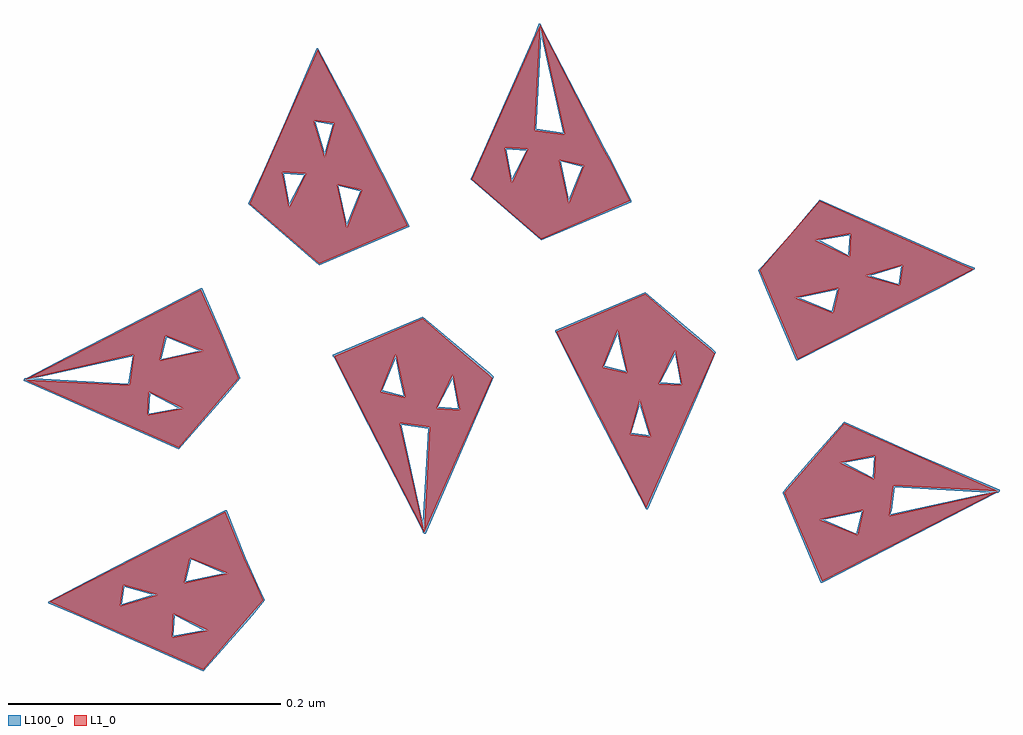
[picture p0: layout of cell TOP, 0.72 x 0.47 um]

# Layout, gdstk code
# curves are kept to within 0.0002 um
import gdstk
lib = gdstk.Library(unit=1e-6, precision=1e-09)
def P(c, l, *ps):  # polygons
    for p in ps: c.add(gdstk.Polygon(p, *l))
L1_0 = (1, 0)
L100_0 = (100, 0)

top = lib.new_cell('TOP')
P(top, L1_0, [(-0.933,1.139),(-1.046,1.189),(-0.969,1.185),(-0.966,1.207),(-1.046,1.189),(-0.917,1.255),(-0.902,1.221),(-0.943,1.221),(-0.947,1.203),(-0.915,1.21),(-0.943,1.221),(-0.902,1.221),(-0.889,1.19),(-0.898,1.18),(-0.955,1.18),(-0.956,1.163),(-0.93,1.168),(-0.955,1.18),(-0.898,1.18)],
  [(-0.915,0.976),(-1.028,1.026),(-0.899,1.092),(-0.885,1.058),(-0.925,1.058),(-0.929,1.04),(-0.897,1.047),(-0.925,1.058),(-0.885,1.058),(-0.876,1.038),(-0.974,1.038),(-0.976,1.023),(-0.949,1.031),(-0.974,1.038),(-0.876,1.038),(-0.871,1.027),(-0.88,1.017),(-0.937,1.017),(-0.938,1),(-0.912,1.005),(-0.937,1.017),(-0.88,1.017)],
  [(-0.667,1.292),(-0.718,1.336),(-0.668,1.449),(-0.672,1.372),(-0.65,1.369),(-0.668,1.449),(-0.622,1.359),(-0.694,1.359),(-0.689,1.333),(-0.677,1.358),(-0.694,1.359),(-0.622,1.359),(-0.617,1.35),(-0.654,1.35),(-0.647,1.318),(-0.636,1.346),(-0.654,1.35),(-0.617,1.35),(-0.602,1.32)],
  [(-0.753,1.077),(-0.819,1.206),(-0.754,1.234),(-0.724,1.208),(-0.774,1.208),(-0.785,1.18),(-0.767,1.176),(-0.774,1.208),(-0.724,1.208),(-0.706,1.193),(-0.732,1.193),(-0.744,1.168),(-0.727,1.167),(-0.732,1.193),(-0.706,1.193),(-0.703,1.19),(-0.753,1.077),(-0.749,1.154),(-0.771,1.157)],
  [(-0.461,1.041),(-0.489,1.106),(-0.445,1.157),(-0.391,1.133),(-0.422,1.133),(-0.448,1.128),(-0.423,1.116),(-0.422,1.133),(-0.391,1.133),(-0.332,1.107),(-0.409,1.111),(-0.411,1.093),(-0.431,1.093),(-0.463,1.086),(-0.435,1.075),(-0.431,1.093),(-0.411,1.093),(-0.412,1.089),(-0.332,1.107)],
  [(-0.479,1.204),(-0.507,1.269),(-0.463,1.32),(-0.409,1.296),(-0.44,1.296),(-0.466,1.291),(-0.441,1.279),(-0.44,1.296),(-0.409,1.296),(-0.357,1.273),(-0.402,1.273),(-0.429,1.265),(-0.404,1.258),(-0.402,1.273),(-0.357,1.273),(-0.35,1.27),(-0.377,1.256),(-0.449,1.256),(-0.481,1.249),(-0.453,1.238),(-0.449,1.256),(-0.377,1.256)],
  [(-0.59,1.095),(-0.656,1.224),(-0.591,1.252),(-0.561,1.226),(-0.611,1.226),(-0.622,1.198),(-0.604,1.194),(-0.611,1.226),(-0.561,1.226),(-0.543,1.211),(-0.569,1.211),(-0.581,1.186),(-0.564,1.185),(-0.569,1.211),(-0.543,1.211),(-0.54,1.208),(-0.555,1.174),(-0.595,1.174),(-0.602,1.149),(-0.587,1.147),(-0.595,1.174),(-0.555,1.174)],
  [(-0.83,1.274),(-0.881,1.318),(-0.831,1.431),(-0.804,1.379),(-0.834,1.379),(-0.826,1.352),(-0.819,1.377),(-0.834,1.379),(-0.804,1.379),(-0.785,1.341),(-0.857,1.341),(-0.852,1.315),(-0.84,1.34),(-0.857,1.341),(-0.785,1.341),(-0.78,1.332),(-0.817,1.332),(-0.81,1.3),(-0.799,1.328),(-0.817,1.332),(-0.78,1.332),(-0.765,1.302)])
P(top, L100_0, [(-0.753,1.076),(-0.754,1.077),(-0.754,1.078),(-0.794,1.156),(-0.77,1.156),(-0.754,1.084),(-0.75,1.153),(-0.77,1.156),(-0.794,1.156),(-0.819,1.205),(-0.774,1.205),(-0.784,1.181),(-0.768,1.177),(-0.771,1.19),(-0.732,1.19),(-0.743,1.169),(-0.728,1.168),(-0.732,1.19),(-0.771,1.19),(-0.774,1.205),(-0.819,1.205),(-0.82,1.206),(-0.82,1.207),(-0.754,1.235),(-0.705,1.194),(-0.702,1.191),(-0.752,1.076)],
  [(-0.667,1.291),(-0.719,1.336),(-0.709,1.358),(-0.693,1.358),(-0.689,1.336),(-0.682,1.349),(-0.653,1.349),(-0.647,1.321),(-0.637,1.345),(-0.653,1.349),(-0.682,1.349),(-0.678,1.357),(-0.693,1.358),(-0.709,1.358),(-0.672,1.442),(-0.667,1.442),(-0.671,1.373),(-0.651,1.37),(-0.667,1.442),(-0.672,1.442),(-0.669,1.45),(-0.668,1.45),(-0.667,1.449),(-0.667,1.448),(-0.621,1.359),(-0.616,1.35),(-0.601,1.32),(-0.601,1.319)],
  [(-0.933,1.138),(-1.026,1.179),(-0.954,1.179),(-0.955,1.164),(-0.933,1.168),(-0.954,1.179),(-1.026,1.179),(-1.047,1.188),(-1.047,1.189),(-1.046,1.19),(-1.045,1.19),(-1.014,1.206),(-0.967,1.206),(-1.039,1.19),(-0.97,1.186),(-0.967,1.206),(-1.014,1.206),(-0.987,1.22),(-0.942,1.22),(-0.946,1.204),(-0.918,1.21),(-0.942,1.22),(-0.987,1.22),(-0.917,1.256),(-0.916,1.256),(-0.888,1.19),(-0.897,1.179)],
  [(-0.59,1.094),(-0.63,1.171),(-0.595,1.171),(-0.601,1.15),(-0.588,1.148),(-0.595,1.171),(-0.63,1.171),(-0.656,1.223),(-0.611,1.223),(-0.621,1.199),(-0.605,1.195),(-0.608,1.208),(-0.569,1.208),(-0.58,1.187),(-0.565,1.186),(-0.569,1.208),(-0.608,1.208),(-0.611,1.223),(-0.656,1.223),(-0.657,1.224),(-0.657,1.225),(-0.591,1.253),(-0.542,1.212),(-0.539,1.209),(-0.589,1.094)],
  [(-0.462,1.04),(-0.484,1.092),(-0.432,1.092),(-0.46,1.086),(-0.436,1.076),(-0.432,1.092),(-0.484,1.092),(-0.49,1.106),(-0.487,1.11),(-0.408,1.11),(-0.41,1.093),(-0.411,1.09),(-0.339,1.106),(-0.408,1.11),(-0.487,1.11),(-0.468,1.132),(-0.423,1.132),(-0.445,1.128),(-0.424,1.117),(-0.423,1.132),(-0.468,1.132),(-0.445,1.158),(-0.391,1.134),(-0.331,1.108),(-0.331,1.107),(-0.332,1.106),(-0.333,1.106),(-0.461,1.04)],
  [(-0.48,1.203),(-0.502,1.255),(-0.45,1.255),(-0.478,1.249),(-0.454,1.239),(-0.45,1.255),(-0.502,1.255),(-0.508,1.269),(-0.505,1.272),(-0.403,1.272),(-0.426,1.265),(-0.405,1.259),(-0.403,1.272),(-0.505,1.272),(-0.485,1.295),(-0.441,1.295),(-0.463,1.291),(-0.442,1.28),(-0.441,1.295),(-0.485,1.295),(-0.463,1.321),(-0.357,1.274),(-0.349,1.271),(-0.349,1.27),(-0.377,1.255),(-0.479,1.203)],
  [(-0.915,0.975),(-1.008,1.016),(-0.936,1.016),(-0.937,1.001),(-0.915,1.005),(-0.936,1.016),(-1.008,1.016),(-1.029,1.025),(-1.029,1.026),(-1.008,1.037),(-0.973,1.037),(-0.975,1.024),(-0.952,1.031),(-0.973,1.037),(-1.008,1.037),(-0.969,1.057),(-0.924,1.057),(-0.928,1.041),(-0.9,1.047),(-0.924,1.057),(-0.969,1.057),(-0.899,1.093),(-0.898,1.093),(-0.884,1.058),(-0.87,1.027),(-0.879,1.016)],
  [(-0.83,1.273),(-0.882,1.318),(-0.872,1.34),(-0.856,1.34),(-0.852,1.318),(-0.845,1.331),(-0.816,1.331),(-0.81,1.303),(-0.8,1.327),(-0.816,1.331),(-0.845,1.331),(-0.841,1.339),(-0.856,1.34),(-0.872,1.34),(-0.855,1.378),(-0.833,1.378),(-0.826,1.355),(-0.82,1.376),(-0.833,1.378),(-0.855,1.378),(-0.832,1.432),(-0.831,1.432),(-0.803,1.379),(-0.784,1.341),(-0.779,1.332),(-0.764,1.302),(-0.764,1.301)])

lib.write_gds('TOP.gds')
